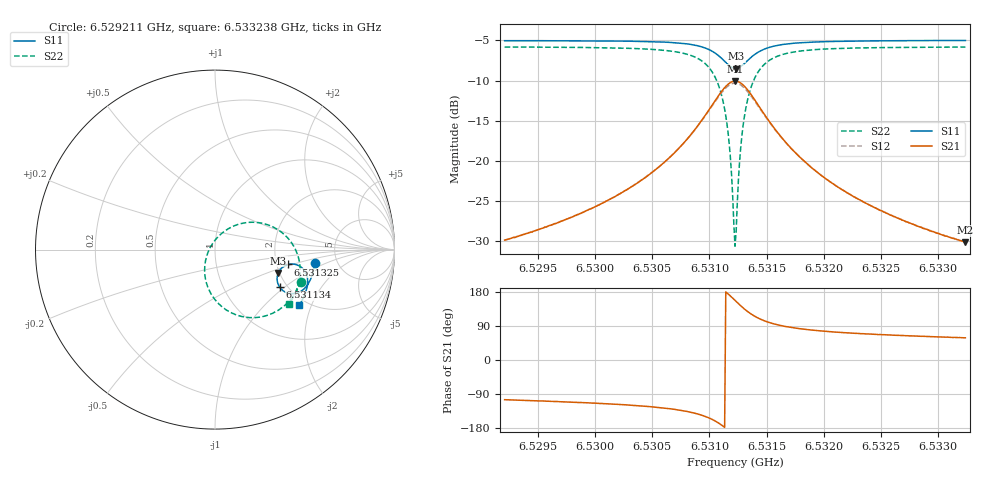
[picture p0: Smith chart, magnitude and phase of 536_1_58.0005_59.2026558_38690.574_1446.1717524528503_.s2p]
#  HZ  S  RI  R  50.00
! Rohde & Schwarz Vector Network Analyzer
! Rohde-Schwarz,ZNB20-2Port,1311601062101988,3.16
! Created: UTC 3/21/2024, 1:14:17 AM
! freq[Hz]  re:S11  im:S11  re:S21  im:S21  re:S12  im:S12  re:S22  im:S22
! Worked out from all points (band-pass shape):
!   401 points, 6.529211 GHz to 6.533238 GHz, reference 50 ohm
!   highest |S21| = -10.07 dB at 6.531224 GHz (marker M1); lowest = -30.2 dB at 6.533238 GHz (marker M2)
!   |S21| within 3 dB of the highest: 6.531024 GHz to 6.531427 GHz (402.8 kHz wide, 0.00617 % of centre)
!   lowest |S11| = -8.5 dB at 6.531234 GHz (marker M3), VSWR 2.20, Z = 98.6 - j29.7 ohm
!   |S11| at or under -10 dB: nowhere
!   |S22| runs from -30.7 to -5.8 dB; largest |S21 - S12| = 0.012
!   S11 on the Smith chart (normalised r, x): 6.529211 GHz: 3.38, -0.73; 6.531134 GHz: 1.82, -0.93; 6.531325 GHz: 2.31, -0.46; 6.533238 GHz: 1.82, -1.64
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6.5292108e9  0.5559 -0.0741  -0.0081 -0.0308  -0.00871 -0.0305  0.4795 -0.1794
6.5298854e9  0.5444 -0.1303  -0.018 -0.0436  -0.019 -0.0432  0.4477 -0.2418
6.530268e9  0.5318 -0.1661  -0.0309 -0.0574  -0.0323 -0.0566  0.4134 -0.2866
6.5305599e9  0.5145 -0.1977  -0.0529 -0.0745  -0.055 -0.0729  0.364 -0.3304
6.5307915e9  0.4865 -0.227  -0.0938 -0.0935  -0.0964 -0.0904  0.2817 -0.3692
6.5309627e9  0.4415 -0.2453  -0.1631 -0.0991  -0.1654 -0.0924  0.1538 -0.3736
6.5310633e9  0.3958 -0.2387  -0.2337 -0.0711  -0.2325 -0.0614  0.0354 -0.3153
6.5311338e9  0.3607 -0.2097  -0.2853 -0.0107  -0.2789 -0.000644  -0.0414 -0.2053
6.5311741e9  0.348 -0.1808  -0.3007 0.0436  -0.2914 0.0515  -0.0579 -0.1129
6.5312144e9  0.3476 -0.1464  -0.2949 0.1055  -0.2836 0.1097  -0.0381 -0.0128
6.5312244e9  0.3499 -0.1378  -0.2896 0.1205  -0.2782 0.1237  -0.027 0.0111
6.5312345e9  0.3529 -0.1295  -0.2829 0.1349  -0.2715 0.1372  -0.0135 0.0336
6.5312446e9  0.357 -0.1216  -0.2748 0.1487  -0.2636 0.15  0.00203 0.0546
6.5312748e9  0.3731 -0.1014  -0.2436 0.1834  -0.2336 0.1821  0.0584 0.1063
6.5312949e9  0.3864 -0.0918  -0.2192 0.2002  -0.2105 0.1977  0.101 0.13
6.5313251e9  0.4076 -0.0829  -0.1813 0.2156  -0.1745 0.212  0.1662 0.1491
6.5313956e9  0.4519 -0.0835  -0.104 0.2163  -0.1006 0.213  0.2956 0.1376
6.5314963e9  0.49 -0.1068  -0.0381 0.1836  -0.0366 0.1817  0.4024 0.068
6.5316473e9  0.5117 -0.1439  0.00109 0.1352  0.0023 0.1344  0.4605 -0.0293
6.531899e9  0.5161 -0.1877  0.0173 0.0879  0.0184 0.0876  0.4745 -0.1283
6.5325735e9  0.4969 -0.2583  0.0187 0.042  0.0195 0.0418  0.4456 -0.2449
6.533238e9  0.4706 -0.308  0.0161 0.0263  0.0167 0.0262  0.4111 -0.3044
